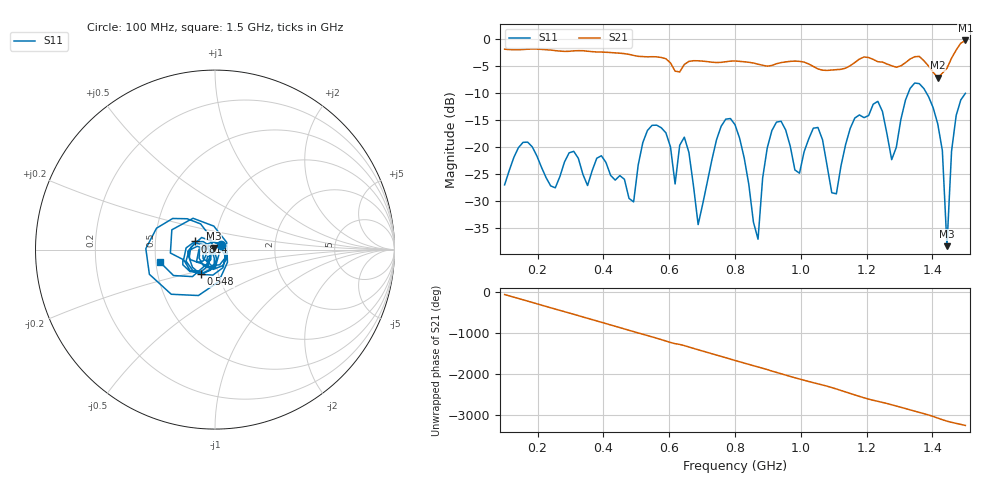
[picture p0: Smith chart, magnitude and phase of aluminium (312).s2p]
! NanoVNA-App
! Date: 2025-09-25 14:57:42
! Start: 100MHz Stop: 1,5GHz Points: 101
! S-Parameter data: F S11 S21 S12 S22
# Hz S RI R 50
!  Frequency  S11_Real  S11_Imag  S21_Real  S21_Imag  S12_Real  S12_Imag  S22_Real  S22_Imag
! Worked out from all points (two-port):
!   101 points, 100 MHz to 1.5 GHz, reference 50 ohm
!   highest |S21| = -0.31 dB at 1.5 GHz (marker M1); lowest = -7.2 dB at 1.416 GHz (marker M2)
!   |S21| within 3 dB of the highest: start of sweep to 526.6 MHz; 1.46 GHz to end of sweep (the widest 2 of 4)
!   lowest |S11| = -38.3 dB at 1.444 GHz (marker M3), VSWR 1.02, Z = 49.3 + j0.963 ohm
!   |S11| at or under -10 dB: start of sweep to 1.327 GHz; 1.382 GHz to end of sweep
!   S12 and S22 are empty: the file has one direction only
!   S11 on the Smith chart (normalised r, x): 100 MHz: 1.07, +0.06; 548 MHz: 0.82, -0.23; 814 MHz: 0.80, +0.07; 1.5 GHz: 0.53, -0.08
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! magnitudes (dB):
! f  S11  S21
! 100 MHz  -27.0  -1.9
! 338 MHz  -25.0  -2.2
! 492 MHz  -30.1  -3.1
! 548 MHz  -16.0  -3.3
! 576 MHz  -16.4  -3.5
! 618 MHz  -26.8  -6.0
! 646 MHz  -18.2  -4.7
! 688 MHz  -34.3  -4.1
! 800 MHz  -15.8  -4.1
! 814 MHz  -18.4  -4.2
! 870 MHz  -37.0  -4.7
! 912 MHz  -16.9  -4.9
! 996 MHz  -24.8  -4.2
! 1.038 GHz  -16.5  -5.1
! 1.094 GHz  -28.4  -5.8
! 1.234 GHz  -11.5  -4.2
! 1.276 GHz  -22.3  -5.0
! 1.346 GHz  -8.2  -3.3
! 1.416 GHz  -15.7  -7.2
! 1.444 GHz  -38.3  -5.4
! 1.458 GHz  -20.7  -3.6
! 1.5 GHz  -10.1  -0.3
